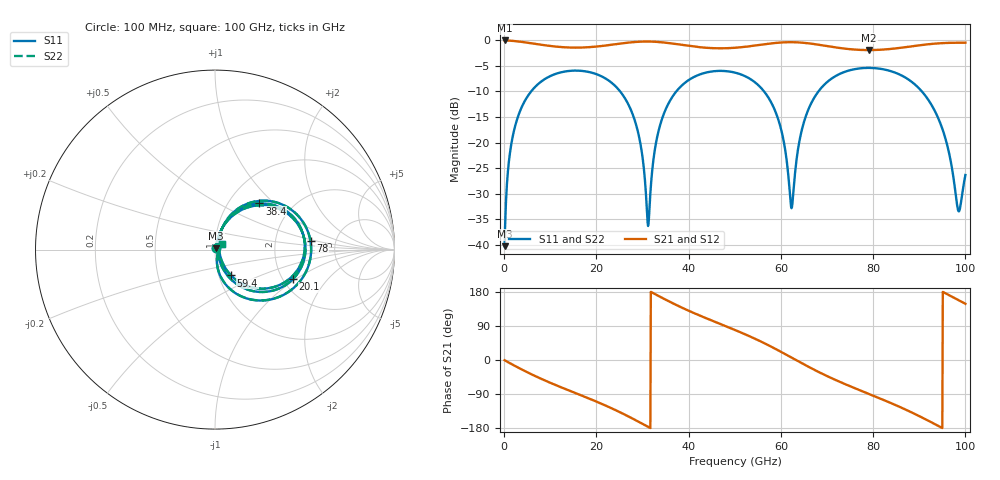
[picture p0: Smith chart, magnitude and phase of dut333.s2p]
! Touchstone file exported from HFSS 2026.1.0
!  File:  C:/ffzhzh/LocalFiles/Ansys_Project_Files/temp_train_TSV_RDL_333_1783704542_44652.aedt
!  Generated:  01:36:25 AM Jul 11, 2026
!  Design:  TSV_RDL
!  Project:  temp_train_TSV_RDL_333_1783704542_44652
! Variables:
!  h_bsmrdl = 4.71um
!  h_ox = 20um
!  h_rdl = 5um
!  h_sub = 96.6um
!  h_tmrdl = 4.67um
!  h_tsv = 96.6um
!  h_via = 3um
!  l_bsmrdl = 220.79um
!  l_sub = 1670.28um
!  l_tmrdl = 123.32um
!  m_sub = 200um
!  pitch = 49.64um
!  r_tsv = 6.6um
!  s_tmrdl = 10um
!  w_bsmrdl = 18.39um
!  w_sub = 500um
!  w_tmrdl = 19.82um
!  x_tsv_center1 = 133.23um
!  x_tsv_center2 = 372.41um
!  x_tsv_center3 = 515.55um
!  x_tsv_center4 = 754.73um
!  x_tsv_center5 = 897.87um
!  x_tsv_center6 = 1137.05um
# GHz S MA R 50.000000
! Terminal data exported
! Port[1] = TM_RDL1_1_T1
! Port[2] = TM_RDL5_1_T1
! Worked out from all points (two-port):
!   1000 points, 100 MHz to 100 GHz, reference 50 ohm
!   highest |S21| = -0.06 dB at 100 MHz (marker M1); lowest = -1.9 dB at 79.1 GHz (marker M2)
!   |S21| within 3 dB of the highest: start of sweep to end of sweep
!   lowest |S11| = -40.2 dB at 100 MHz (marker M3), VSWR 1.02, Z = 50.7 + j0.663 ohm
!   |S11| at or under -10 dB: 25.14 GHz to 37.34 GHz (12.2 GHz wide, 39.1 % of centre); 56.34 GHz to 68.15 GHz (11.81 GHz wide, 19 % of centre); 90.55 GHz to end of sweep (the widest 3 of 4)
!   |S22| runs from -40.2 to -5.4 dB; largest |S21 - S12| = 2e-12
!   S11 on the Smith chart (normalised r, x): 100 MHz: 1.01, +0.01; 20.1 GHz: 2.25, -0.95; 38.4 GHz: 1.38, +0.81; 59.4 GHz: 1.14, -0.34; 78 GHz: 3.23, +0.42; 100 GHz: 1.08, +0.06
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0.1  0.009736 42.1  0.9928 -0.7  0.9928 -0.7  0.009736 42.1
! Gamma 0 0 0 0
! Port Impedance 50 0 50 0
1.5  0.0936 74.0  0.986 -10.1  0.986 -10.1  0.0936 74.0
4.1  0.2363 59.8  0.9575 -26.8  0.9575 -26.8  0.2363 59.8
16.8  0.5011 -5.0  0.8469 -93.8  0.8469 -93.8  0.5011 -5.0
20.1  0.4638 -20.9  0.8664 -110.3  0.8664 -110.3  0.4638 -20.9
27.8  0.192 -61.3  0.9546 -154.3  0.9546 -154.3  0.192 -61.4
29.6  0.09439 -67.9  0.9666 -165.8  0.9666 -165.8  0.09439 -68.1
31.2  0.01531 -1.0  0.9692 -176.3  0.9692 -176.3  0.01511 -1.2
33.4  0.1257 71.4  0.9595 169.4  0.9595 169.4  0.1256 71.5
38.4  0.3565 46.1  0.9002 138.9  0.9002 138.9  0.3565 46.1
50.1  0.4811 -11.2  0.8428 79.0  0.8428 79.0  0.4811 -11.2
59.4  0.1697 -58.1  0.9436 25.6  0.9436 25.6  0.1696 -58.2
62.3  0.02286 3.4  0.955 6.4  0.955 6.4  0.02223 3.3
64.3  0.1194 71.4  0.9469 -6.9  0.9469 -6.9  0.1193 71.7
66.7  0.2484 61.9  0.9221 -22.5  0.9221 -22.5  0.2483 62.1
78  0.5341 5.0  0.8008 -84.2  0.8008 -84.2  0.5341 5.1
79.1  0.5358 -0.2  0.7997 -89.6  0.7997 -89.6  0.5358 -0.1
83.4  0.5045 -20.8  0.8174 -111.2  0.8174 -111.2  0.5045 -20.7
93.3  0.2066 -72.6  0.9239 -168.7  0.9239 -168.7  0.2065 -72.5
96.1  0.09274 -82.0  0.9396 173.3  0.9396 173.3  0.09268 -81.8
98.5  0.02137 -25.2  0.9437 157.9  0.9437 157.9  0.02132 -24.8
100  0.04826 37.2  0.944 148.4  0.944 148.4  0.04831 37.4
